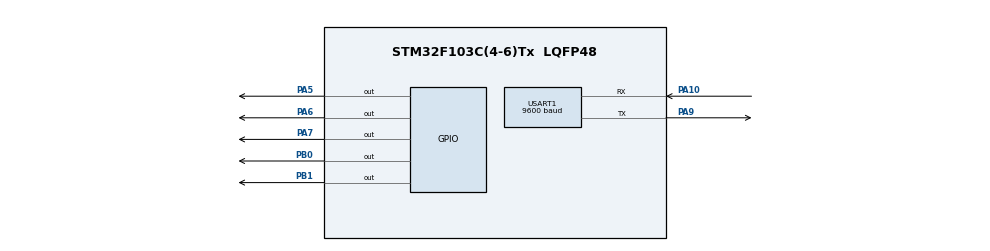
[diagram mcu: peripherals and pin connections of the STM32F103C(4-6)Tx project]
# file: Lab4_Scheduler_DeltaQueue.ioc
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Mcu.Family=STM32F1
Mcu.Name=STM32F103C(4-6)Tx
Mcu.Package=LQFP48
NVIC.PriorityGroup=NVIC_PRIORITYGROUP_4
NVIC.TIM2_IRQn=true\:0\:0\:false\:false\:true\:true\:true
PA10.Mode=Asynchronous
PA10.Signal=USART1_RX
PA13.Mode=Serial_Wire
PA13.Signal=SYS_JTMS-SWDIO
PA14.Mode=Serial_Wire
PA14.Signal=SYS_JTCK-SWCLK
PA5.Signal=GPIO_Output
PA6.Signal=GPIO_Output
PA7.Signal=GPIO_Output
PA9.Mode=Asynchronous
PA9.Signal=USART1_TX
PB0.Signal=GPIO_Output
PB1.Signal=GPIO_Output
ProjectManager.HeapSize=0x200
ProjectManager.StackSize=0x400
ProjectManager.TargetToolchain=STM32CubeIDE
RCC.APB1Freq_Value=8000000
RCC.APB2Freq_Value=8000000
TIM2.Period=99
TIM2.Prescaler=799
USART1.BaudRate=9600
USART1.VirtualMode=VM_ASYNC
VP_TIM2_VS_ClockSourceINT.Mode=Internal
board=custom

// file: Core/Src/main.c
/* USER CODE BEGIN Header */
/**
  ******************************************************************************
  * @file           : main.c
  * @brief          : Main program body
  ******************************************************************************
  * @attention
  *
  * <h2><center>&copy; Copyright (c) 2026 STMicroelectronics.
  * All rights reserved.</center></h2>
  *
  * This software component is licensed by ST under BSD 3-Clause license,
  * the "License"; You may not use this file except in compliance with the
  * License. You may obtain a copy of the License at:
  *                        opensource.org/licenses/BSD-3-Clause
  *
  ******************************************************************************
  */
/* USER CODE END Header */
#include "main.h"

/* USER CODE BEGIN Includes */
#include "scheduler.h"
#include <stdio.h>
#include <string.h>
/* USER CODE END Includes */

/* USER CODE BEGIN PD */
#define TIMER_TICK_MS           10UL    /* 1 tick của bộ lập lịch = 10ms */

/* Định nghĩa các chân GPIO cho 5 LED */
#define LED1_GPIO_PORT          GPIOA
#define LED1_PIN                GPIO_PIN_5

#define LED2_GPIO_PORT          GPIOA
#define LED2_PIN                GPIO_PIN_6

#define LED3_GPIO_PORT          GPIOA
#define LED3_PIN                GPIO_PIN_7

#define LED4_GPIO_PORT          GPIOB
#define LED4_PIN                GPIO_PIN_0

#define LED5_GPIO_PORT          GPIOB
#define LED5_PIN                GPIO_PIN_1
/* USER CODE END PD */

TIM_HandleTypeDef htim2;

UART_HandleTypeDef huart1;

/* USER CODE BEGIN PV */
/**
 * @brief Biến đếm số tick hệ thống (tăng mỗi 10ms trong ngắt TIM2)
 */
static volatile uint32_t system_ticks = 0UL;

/**
 * @brief Lưu TaskID của task mẫu để kiểm thử hàm SCH_Delete_Task()
 */
static uint32_t g_dummy_task_id = NO_TASK_ID;
/* USER CODE END PV */

void SystemClock_Config(void);
static void MX_GPIO_Init(void);
static void MX_TIM2_Init(void);
static void MX_USART1_UART_Init(void);
/* USER CODE BEGIN PFP */
uint32_t get_time(void);
void UART_SendString(const char *str);

/* Khai báo 5 tác vụ điều khiển LED định kỳ */
void Task_LED1(void);
void Task_LED2(void);
void Task_LED3(void);
void Task_LED4(void);
void Task_LED5(void);

/* Khai báo các tác vụ One-shot phục vụ Demonstration */
void Task_Init_Test1(void);
void Task_Init_Test2(void);
void Task_Dummy_Never_Run(void);
/* USER CODE END PFP */

/* USER CODE BEGIN 0 */

/**
 * @brief  Chuyển hướng hàm xuất ký tự chuẩn sang USART1 cho printf() trên GCC/STM32CubeIDE.
 * @param  ch: Ký tự cần gửi
 * @retval Ký tự đã gửi
 */
int __io_putchar(int ch) {
    uint8_t c = (uint8_t)ch;
    HAL_UART_Transmit(&huart1, &c, 1U, HAL_MAX_DELAY);
    return ch;
}

/**
 * @brief  Hàm hệ thống _write phục vụ thư viện Newlib (printf) trong STM32CubeIDE.
 */
int _write(int file, char *ptr, int len) {
    (void)file;
    HAL_UART_Transmit(&huart1, (uint8_t *)ptr, (uint16_t)len, HAL_MAX_DELAY);
    return len;
}

/**
 * @brief  Gửi trực tiếp một chuỗi ký tự qua USART1.
 * @param  str: Con trỏ tới chuỗi ký tự kết thúc bằng '\0'
 */
void UART_SendString(const char *str) {
    if (str != NULL) {
        HAL_UART_Transmit(&huart1, (uint8_t *)str, (uint16_t)strlen(str), HAL_MAX_DELAY);
    }
}

/**
 * @brief  Lấy thời gian hoạt động hiện tại của hệ thống tính bằng mili-giây (ms).
 *         Độ phân giải chính xác theo chu kỳ 10ms của Timer 2.
 * @retval Thời gian hiện tại (ms)
 */
uint32_t get_time(void) {
    return (system_ticks * TIMER_TICK_MS);
}

/* ========================================================================== */
/*                    ĐỊNH NGHĨA 5 TÁC VỤ ĐIỀU KHIỂN LED                      */
/* ========================================================================== */

/**
 * @brief  Task 1: Đảo trạng thái LED 1 (PA5) định kỳ mỗi 0.5s (50 ticks).
 */
void Task_LED1(void) {
    HAL_GPIO_TogglePin(LED1_GPIO_PORT, LED1_PIN);
    printf("[Timestamp: %lu ms] LED 1 Toggled (0.5s)\r\n", get_time());
}

/**
 * @brief  Task 2: Đảo trạng thái LED 2 (PA6) định kỳ mỗi 1.0s (100 ticks).
 */
void Task_LED2(void) {
    HAL_GPIO_TogglePin(LED2_GPIO_PORT, LED2_PIN);
    printf("[Timestamp: %lu ms] LED 2 Toggled (1.0s)\r\n", get_time());
}

/**
 * @brief  Task 3: Đảo trạng thái LED 3 (PA7) định kỳ mỗi 1.5s (150 ticks).
 */
void Task_LED3(void) {
    HAL_GPIO_TogglePin(LED3_GPIO_PORT, LED3_PIN);
    printf("[Timestamp: %lu ms] LED 3 Toggled (1.5s)\r\n", get_time());
}

/**
 * @brief  Task 4: Đảo trạng thái LED 4 (PB0) định kỳ mỗi 2.0s (200 ticks).
 */
void Task_LED4(void) {
    HAL_GPIO_TogglePin(LED4_GPIO_PORT, LED4_PIN);
    printf("[Timestamp: %lu ms] LED 4 Toggled (2.0s)\r\n", get_time());
}

/**
 * @brief  Task 5: Đảo trạng thái LED 5 (PB1) định kỳ mỗi 2.5s (250 ticks).
 */
void Task_LED5(void) {
    HAL_GPIO_TogglePin(LED5_GPIO_PORT, LED5_PIN);
    printf("[Timestamp: %lu ms] LED 5 Toggled (2.5s)\r\n", get_time());
}

/* ========================================================================== */
/*                ĐỊNH NGHĨA CÁC TÁC VỤ ONE-SHOT DEMONSTRATION                */
/* ========================================================================== */

/**
 * @brief  One-shot Task 1: Chạy 1 lần duy nhất tại thời điểm 3000ms (300 ticks).
 */
void Task_Init_Test1(void) {
    printf("[Timestamp: %lu ms] >>> ONE-SHOT TEST 1 EXPIRED (Expected: 3000 ms) <<<\r\n",
           get_time());
}

/**
 * @brief  One-shot Task 2: Chạy 1 lần duy nhất tại thời điểm 6000ms (600 ticks).
 *         Đồng thời kiểm tra tính năng xóa tác vụ SCH_Delete_Task() trên Delta-Queue.
 */
void Task_Init_Test2(void) {
    printf("[Timestamp: %lu ms] >>> ONE-SHOT TEST 2 EXPIRED (Expected: 6000 ms) <<<\r\n",
           get_time());

    if (g_dummy_task_id != NO_TASK_ID) {
        if (SCH_Delete_Task(g_dummy_task_id) == RETURN_NORMAL) {
            printf("[Timestamp: %lu ms] >>> SCH_Delete_Task(ID=%lu) SUCCESS: Dummy task removed <<<\r\n",
                   get_time(), g_dummy_task_id);
        } else {
            printf("[Timestamp: %lu ms] >>> SCH_Delete_Task(ID=%lu) FAILED <<<\r\n",
                   get_time(), g_dummy_task_id);
        }
        g_dummy_task_id = NO_TASK_ID;
    }
}

/**
 * @brief  Tác vụ mẫu đặt ở 10000ms (1000 ticks), sẽ bị xóa bởi Task_Init_Test2 ở 6000ms.
 */
void Task_Dummy_Never_Run(void) {
    printf("[Timestamp: %lu ms] [ERROR] Dummy task should have been deleted!\r\n",
           get_time());
}

/* ========================================================================== */
/*                        CALLBACK NGẮT ĐỊNH THỜI TIMER 2                     */
/* ========================================================================== */

/**
 * @brief  Hàm callback ngắt tràn Timer (gọi mỗi 10ms bởi TIM2).
 * @param  htim: Con trỏ cấu trúc quản lý Timer
 */
void HAL_TIM_PeriodElapsedCallback(TIM_HandleTypeDef *htim) {
    if (htim->Instance == TIM2) {
        system_ticks++;
        SCH_Update();
    }
}

/* USER CODE END 0 */

int main(void)
{

  /* MCU Configuration--------------------------------------------------------*/

  /* Reset of all peripherals, Initializes the Flash interface and the Systick. */
  HAL_Init();

  /* Configure the system clock */
  SystemClock_Config();

  /* Initialize all configured peripherals */
  MX_GPIO_Init();
  MX_TIM2_Init();
  MX_USART1_UART_Init();
  /* USER CODE BEGIN 2 */

  /* Tắt bộ đệm stdout để hàm printf() xuất dữ liệu tức thời qua UART1 */
  setvbuf(stdout, NULL, _IONBF, 0);

  /* 1. Khởi tạo bộ lập lịch Delta-Queue */
  SCH_Init();

  UART_SendString("\r\n========================================================\r\n");
  UART_SendString("   STM32F103C8 COOPERATIVE SCHEDULER (DELTA-QUEUE O(1)) \r\n");
  UART_SendString("   Timer 2 Tick = 10 ms | USART1 = 9600 8-N-1           \r\n");
  UART_SendString("========================================================\r\n");

  /*
   * 2. Đăng ký các tác vụ One-shot (Period = 0) trước khi vào vòng lặp chính:
   *    - Task_Init_Test1: chạy 1 lần sau 3000ms (300 ticks)
   *    - Task_Init_Test2: chạy 1 lần sau 6000ms (600 ticks) và xóa Task_Dummy
   *    - Task_Dummy_Never_Run: đặt hẹn tại 10000ms (1000 ticks) để kiểm thử SCH_Delete_Task
   */
  (void)SCH_Add_Task(Task_Init_Test1, 300U, 0U);
  (void)SCH_Add_Task(Task_Init_Test2, 600U, 0U);
  g_dummy_task_id = SCH_Add_Task(Task_Dummy_Never_Run, 1000U, 0U);

  /*
   * 3. Đăng ký 5 tác vụ điều khiển LED định kỳ với Initial Delay lệch pha nhau 10 ticks (100ms)
   *    để tránh xung đột thực thi tại t = 0:
   *    - LED 1 (PA5): Delay =  0 ticks (0ms),   Period =  50 ticks (0.5s)
   *    - LED 2 (PA6): Delay = 10 ticks (100ms), Period = 100 ticks (1.0s)
   *    - LED 3 (PA7): Delay = 20 ticks (200ms), Period = 150 ticks (1.5s)
   *    - LED 4 (PB0): Delay = 30 ticks (300ms), Period = 200 ticks (2.0s)
   *    - LED 5 (PB1): Delay = 40 ticks (400ms), Period = 250 ticks (2.5s)
   */
  (void)SCH_Add_Task(Task_LED1, 0U,  50U);
  (void)SCH_Add_Task(Task_LED2, 10U, 100U);
  (void)SCH_Add_Task(Task_LED3, 20U, 150U);
  (void)SCH_Add_Task(Task_LED4, 30U, 200U);
  (void)SCH_Add_Task(Task_LED5, 40U, 250U);

  printf("[Timestamp: %lu ms] All tasks registered. Starting Timer 2 & entering Super Loop...\r\n\r\n",
         get_time());

  /* 4. Kích hoạt ngắt Timer 2 (chu kỳ 10ms) */
  HAL_TIM_Base_Start_IT(&htim2);

  /* USER CODE END 2 */

  /* Infinite loop */
  /* USER CODE BEGIN WHILE */
  while (1)
  {
    SCH_Dispatch_Tasks();
    /* USER CODE END WHILE */

  }
}

void SystemClock_Config(void)
{
  RCC_OscInitTypeDef RCC_OscInitStruct = {0};
  RCC_ClkInitTypeDef RCC_ClkInitStruct = {0};

  /** Initializes the RCC Oscillators according to the specified parameters
  * in the RCC_OscInitTypeDef structure.
  */
  RCC_OscInitStruct.OscillatorType = RCC_OSCILLATORTYPE_HSI;
  RCC_OscInitStruct.HSIState = RCC_HSI_ON;
  RCC_OscInitStruct.HSICalibrationValue = RCC_HSICALIBRATION_DEFAULT;
  RCC_OscInitStruct.PLL.PLLState = RCC_PLL_NONE;
  if (HAL_RCC_OscConfig(&RCC_OscInitStruct) != HAL_OK)
  {
    Error_Handler();
  }

  /** Initializes the CPU, AHB and APB buses clocks
  */
  RCC_ClkInitStruct.ClockType = RCC_CLOCKTYPE_HCLK|RCC_CLOCKTYPE_SYSCLK
                              |RCC_CLOCKTYPE_PCLK1|RCC_CLOCKTYPE_PCLK2;
  RCC_ClkInitStruct.SYSCLKSource = RCC_SYSCLKSOURCE_HSI;
  RCC_ClkInitStruct.AHBCLKDivider = RCC_SYSCLK_DIV1;
  RCC_ClkInitStruct.APB1CLKDivider = RCC_HCLK_DIV1;
  RCC_ClkInitStruct.APB2CLKDivider = RCC_HCLK_DIV1;

  if (HAL_RCC_ClockConfig(&RCC_ClkInitStruct, FLASH_LATENCY_0) != HAL_OK)
  {
    Error_Handler();
  }
}

static void MX_TIM2_Init(void)
{

  TIM_ClockConfigTypeDef sClockSourceConfig = {0};
  TIM_MasterConfigTypeDef sMasterConfig = {0};

  htim2.Instance = TIM2;
  htim2.Init.Prescaler = 799;
  htim2.Init.CounterMode = TIM_COUNTERMODE_UP;
  htim2.Init.Period = 99;
  htim2.Init.ClockDivision = TIM_CLOCKDIVISION_DIV1;
  htim2.Init.AutoReloadPreload = TIM_AUTORELOAD_PRELOAD_DISABLE;
  if (HAL_TIM_Base_Init(&htim2) != HAL_OK)
  {
    Error_Handler();
  }
  sClockSourceConfig.ClockSource = TIM_CLOCKSOURCE_INTERNAL;
  if (HAL_TIM_ConfigClockSource(&htim2, &sClockSourceConfig) != HAL_OK)
  {
    Error_Handler();
  }
  sMasterConfig.MasterOutputTrigger = TIM_TRGO_RESET;
  sMasterConfig.MasterSlaveMode = TIM_MASTERSLAVEMODE_DISABLE;
  if (HAL_TIMEx_MasterConfigSynchronization(&htim2, &sMasterConfig) != HAL_OK)
  {
    Error_Handler();
  }

}

static void MX_USART1_UART_Init(void)
{

  huart1.Instance = USART1;
  huart1.Init.BaudRate = 9600;
  huart1.Init.WordLength = UART_WORDLENGTH_8B;
  huart1.Init.StopBits = UART_STOPBITS_1;
  huart1.Init.Parity = UART_PARITY_NONE;
  huart1.Init.Mode = UART_MODE_TX_RX;
  huart1.Init.HwFlowCtl = UART_HWCONTROL_NONE;
  huart1.Init.OverSampling = UART_OVERSAMPLING_16;
  if (HAL_UART_Init(&huart1) != HAL_OK)
  {
    Error_Handler();
  }

}

static void MX_GPIO_Init(void)
{
  GPIO_InitTypeDef GPIO_InitStruct = {0};

  /* GPIO Ports Clock Enable */
  __HAL_RCC_GPIOA_CLK_ENABLE();
  __HAL_RCC_GPIOB_CLK_ENABLE();

  /*Configure GPIO pin Output Level */
  HAL_GPIO_WritePin(GPIOA, GPIO_PIN_5|GPIO_PIN_6|GPIO_PIN_7, GPIO_PIN_RESET);

  /*Configure GPIO pin Output Level */
  HAL_GPIO_WritePin(GPIOB, GPIO_PIN_0|GPIO_PIN_1, GPIO_PIN_RESET);

  /*Configure GPIO pins : PA5 PA6 PA7 */
  GPIO_InitStruct.Pin = GPIO_PIN_5|GPIO_PIN_6|GPIO_PIN_7;
  GPIO_InitStruct.Mode = GPIO_MODE_OUTPUT_PP;
  GPIO_InitStruct.Pull = GPIO_NOPULL;
  GPIO_InitStruct.Speed = GPIO_SPEED_FREQ_LOW;
  HAL_GPIO_Init(GPIOA, &GPIO_InitStruct);

  /*Configure GPIO pins : PB0 PB1 */
  GPIO_InitStruct.Pin = GPIO_PIN_0|GPIO_PIN_1;
  GPIO_InitStruct.Mode = GPIO_MODE_OUTPUT_PP;
  GPIO_InitStruct.Pull = GPIO_NOPULL;
  GPIO_InitStruct.Speed = GPIO_SPEED_FREQ_LOW;
  HAL_GPIO_Init(GPIOB, &GPIO_InitStruct);

}

void Error_Handler(void)
{
  __disable_irq();
  while (1)
  {
  }
}

#ifdef  USE_FULL_ASSERT
/**
  * @brief  Reports the name of the source file and the source line number
  *         where the assert_param error has occurred.
  * @param  file: pointer to the source file name
  * @param  line: assert_param error line source number
  * @retval None
  */
void assert_failed(uint8_t *file, uint32_t line)
{
  /* USER CODE BEGIN 6 */
  (void)file;
  (void)line;
  /* USER CODE END 6 */
}
#endif /* USE_FULL_ASSERT */

/************************ (C) COPYRIGHT STMicroelectronics *****END OF FILE****/
